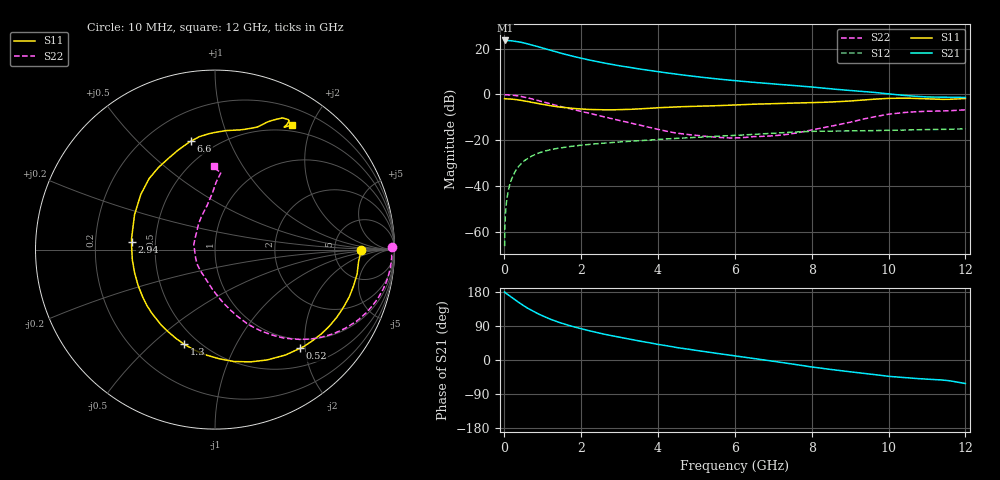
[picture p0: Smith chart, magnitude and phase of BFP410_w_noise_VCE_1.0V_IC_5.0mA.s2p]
! Infineon Technologies  Discrete & RF Semiconductors
! BFP410
! VCE =  1.0 V,  IC =  5.0 mA
! Common Emitter S-Parameters:  Nov 2015
# GHz  S  MA  R  50
!  f  S11  S21  S12  S22
! GHz  MAG  ANG  MAG  ANG  MAG  ANG  MAG  ANG
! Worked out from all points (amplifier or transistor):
!   243 points, 10 MHz to 12 GHz, reference 50 ohm
!   highest |S21| = 23.5 dB at 20 MHz (marker M1)
!   |S21| within 3 dB of that: start of sweep to 939.8 MHz
!   unconditionally stable (mu >= 1): 3.029 GHz to end of sweep
!   at 240 MHz: K = 0.10, MSG = 29.1 dB, |S12| = -34.9 dB
!   at 1.84 GHz: K = 0.65, MSG = 19.4 dB, |S12| = -22.4 dB
!   at 12 GHz: K = 1.06, MAG = 5.3 dB, |S12| = -14.9 dB
!   lowest NFmin = 1.00 dB at 900 MHz
!   S11 on the Smith chart (normalised r, x): 10 MHz: 9.59, +0.00; 520 MHz: 0.82, -1.90; 1.3 GHz: 0.42, -0.64; 2.94 GHz: 0.36, +0.04; 6.6 GHz: 0.37, +0.73; 12 GHz: 0.41, +1.72
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0.01  0.8111 0.0  14.86 179.5  0.0005 74.5  0.9842 1.0
0.02  0.8093 -1.9  15 178.4  0.0016 89.8  0.9835 -0.7
0.07  0.8022 -6.9  14.92 174.3  0.0054 84.9  0.9843 -3.8
0.2  0.793 -19.4  14.74 164.9  0.015 80.2  0.9698 -11.2
0.3  0.7763 -29.0  14.38 157.4  0.0221 75.4  0.9475 -16.6
0.4  0.7559 -38.4  13.9 150.4  0.0287 70.8  0.9183 -21.8
0.52  0.726 -49.2  13.21 142.5  0.0359 65.8  0.8769 -27.6
0.7  0.6801 -64.7  12.12 131.5  0.0451 59.2  0.8093 -35.4
0.9  0.6324 -80.4  10.87 121.0  0.0534 52.9  0.7328 -42.8
1.1  0.5894 -94.8  9.713 111.9  0.06 48.0  0.66 -49.0
1.3  0.5549 -108.0  8.699 103.9  0.0654 43.8  0.5955 -54.4
1.62  0.5141 -126.4  7.364 93.1  0.0721 38.8  0.5094 -61.4
2.02  0.4823 -146.4  6.114 82.1  0.0791 34.3  0.4266 -68.3
2.4  0.4663 -163.9  5.231 72.7  0.0849 30.6  0.3581 -74.7
2.94  0.4668 174.5  4.302 61.2  0.0918 26.4  0.2794 -83.8
4.1  0.5188 141.1  3.059 39.7  0.1065 19.2  0.1671 -109.3
5  0.5553 124.7  2.443 25.1  0.1169 13.8  0.1293 -139.5
6.1  0.5958 108.9  1.967 9.5  0.13 7.6  0.1141 -179.4
6.6  0.6186 102.5  1.808 2.4  0.1371 4.4  0.1218 163.6
8.2  0.6725 81.4  1.403 -20.9  0.1584 -9.5  0.1819 117.7
10.2  0.8278 61.7  0.994 -44.7  0.1669 -23.1  0.3885 88.1
12  0.8181 58.3  0.863 -62.1  0.1794 -36.4  0.464 91.0
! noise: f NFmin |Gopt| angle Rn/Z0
0.45  1.02  0.27  4  0.25
0.9  1  0.24  16  0.19
1.8  1.16  0.15  54  0.17
2.4  1.16  0.15  52  0.2
5.5  2.1  0.32  -125  0.21
10  3.4  0.67  -52  1.79
